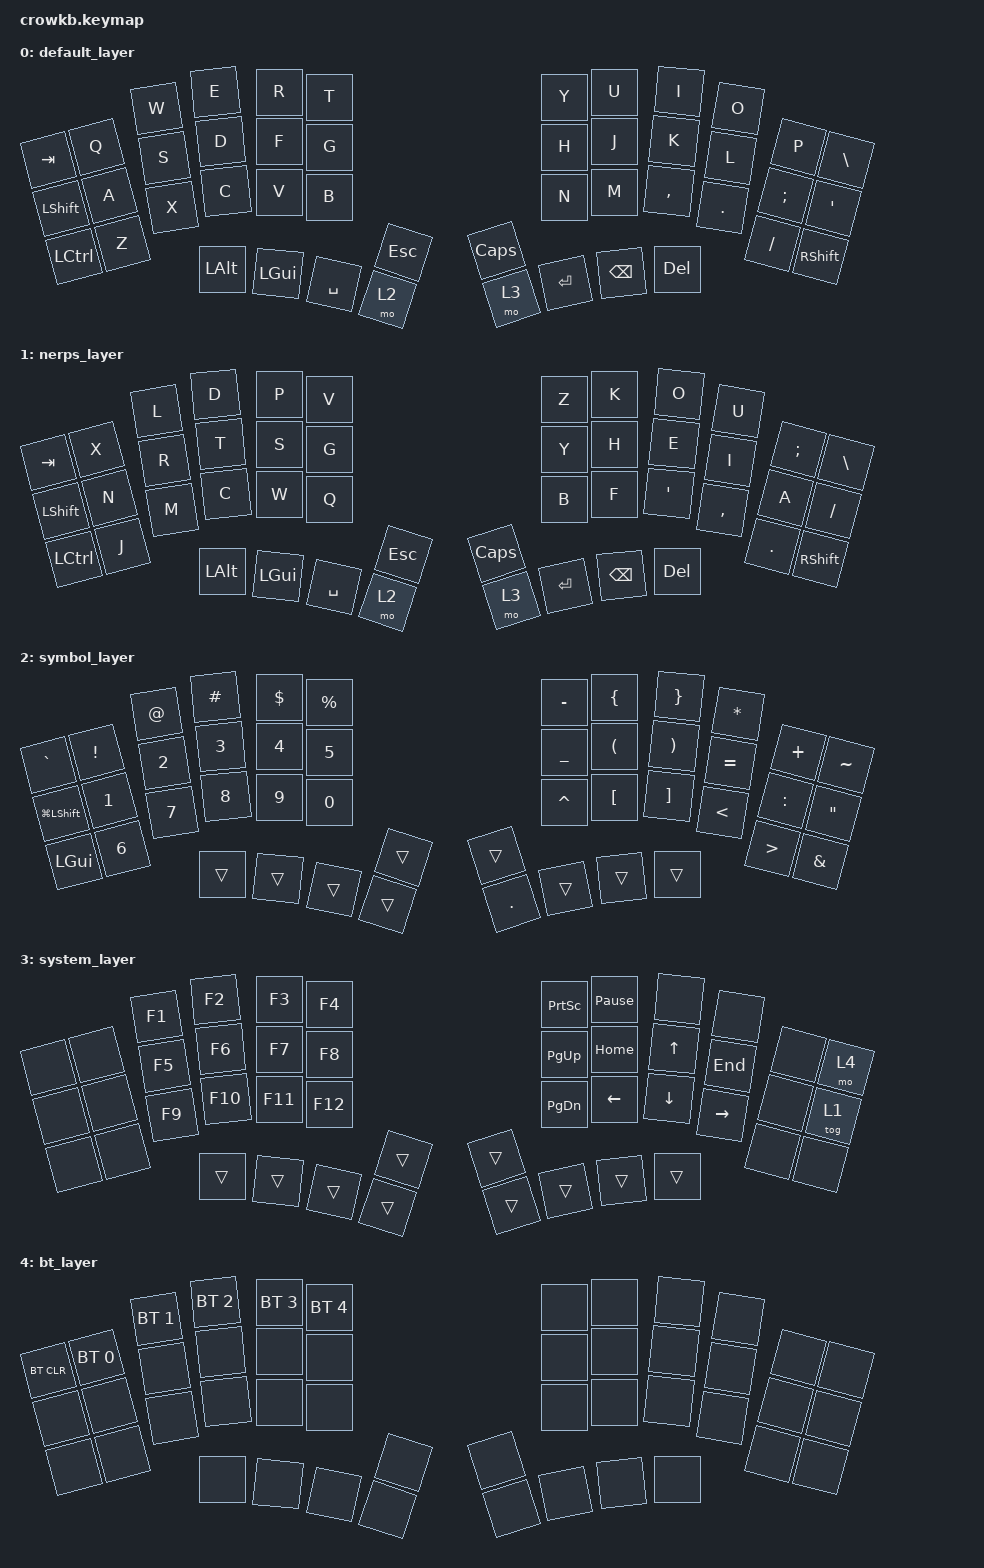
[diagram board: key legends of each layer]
#include <behaviors.dtsi>
#include <dt-bindings/zmk/keys.h>
#include <dt-bindings/zmk/bt.h>

#define DEFAULT 0
#define NERPS   1
#define SYMNUM  2
#define SYSTEM  3
#define BT      4


/ {
    keymap {
        compatible = "zmk,keymap";

        default_layer {
            bindings = <
    &kp TAB     &kp Q   &kp W       &kp E       &kp R       &kp T       &kp Y   &kp U   &kp I       &kp O   &kp P       &kp BSLH
    &kp LSHFT   &kp A   &kp S       &kp D       &kp F       &kp G       &kp H   &kp J   &kp K       &kp L   &kp SEMI    &kp SQT
    &kp LCTRL   &kp Z   &kp X       &kp C       &kp V       &kp B       &kp N   &kp M   &kp COMMA   &kp DOT &kp FSLH    &kp RSHFT
                                                            &kp ESC     &kp CAPS
                        &kp LALT    &kp LGUI    &kp SPACE   &mo 2       &mo 3   &kp RET &kp BSPC    &kp DEL
            >;
        };
         nerps_layer {
            bindings = <
    &kp TAB     &kp X   &kp L       &kp D       &kp P       &kp V       &kp Z   &kp K   &kp O       &kp U     &kp SEMI &kp BSLH
    &kp LSHFT   &kp N   &kp R       &kp T       &kp S       &kp G       &kp Y   &kp H   &kp E       &kp I     &kp A    &kp FSLH
    &kp LCTRL   &kp J   &kp M       &kp C       &kp W       &kp Q       &kp B   &kp F   &kp SQT     &kp COMMA &kp DOT  &kp RSHFT
                                                            &kp ESC     &kp CAPS
                        &kp LALT    &kp LGUI    &kp SPACE   &mo 2       &mo 3   &kp RET &kp BSPC    &kp DEL
            >;
        };       
        symbol_layer {
            bindings = <
    &kp GRAVE       &kp EXCL    &kp AT  &kp HASH    &kp DLLR    &kp PRCNT   &kp MINUS   &kp LBRC    &kp RBRC    &kp STAR    &kp PLUS    &kp TILDE
    &kp LG(LSHFT)   &kp N1      &kp N2  &kp N3      &kp N4      &kp N5      &kp UNDER   &kp LPAR    &kp RPAR    &kp EQUAL   &kp COLON   &kp DQT
    &kp LGUI        &kp N6      &kp N7  &kp N8      &kp N9      &kp N0      &kp CARET   &kp LBKT    &kp RBKT    &kp LT      &kp GT      &kp AMPS
                                                                &trans      &trans
                                &trans  &trans      &trans      &trans      &kp DOT     &trans      &trans      &trans
            >;
        };
        system_layer {
            bindings = <
    &none   &none   &kp F1  &kp F2  &kp F3  &kp F4      &kp PSCRN   &kp PAUSE_BREAK &none       &none       &none   &mo 4
    &none   &none   &kp F5  &kp F6  &kp F7  &kp F8      &kp PG_UP   &kp HOME        &kp UP      &kp END     &none   &tog 1
    &none   &none   &kp F9  &kp F10 &kp F11 &kp F12     &kp PG_DN   &kp LEFT        &kp DOWN    &kp RIGHT   &none   &none
                                            &trans      &trans
                    &trans  &trans  &trans  &trans      &trans      &trans          &trans      &trans
            >;
        };
        bt_layer {
            bindings = <
    &bt BT_CLR  &bt BT_SEL 0 &bt BT_SEL 1 &bt BT_SEL 2 &bt BT_SEL 3 &bt BT_SEL 4    &none   &none   &none   &none   &none   &none
    &none       &none        &none        &none        &none        &none           &none   &none   &none   &none   &none   &none
    &none       &none        &none        &none        &none        &none           &none   &none   &none   &none   &none   &none
                                                                    &none           &none
                             &none        &none        &none        &none           &none   &none   &none   &none
            >;
        };
    };
}; 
